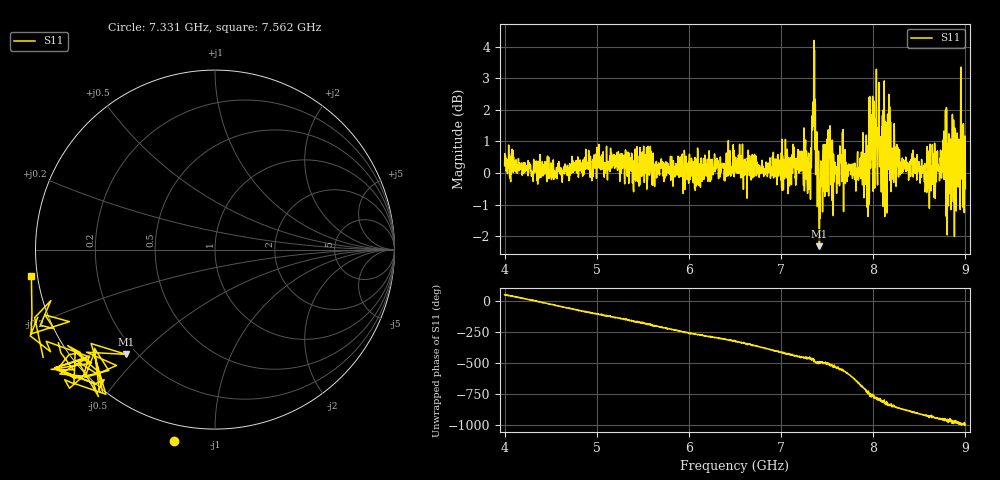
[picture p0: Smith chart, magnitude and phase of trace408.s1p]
! Created with skrf 1.8.0 (http://scikit-rf.org).
# Hz S RI R 50.0
!freq ReS11 ImS11
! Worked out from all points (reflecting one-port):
!   1601 points, 4 GHz to 9 GHz, reference 50 ohm
!   lowest |S11| = -2.3 dB at 7.416 GHz (marker M1), VSWR 7.53, Z = 8.03 - j22.7 ohm
!   phase of S11 starts at 50 deg and turns -1043 deg over the sweep
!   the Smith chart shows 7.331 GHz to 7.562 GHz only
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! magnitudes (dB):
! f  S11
! 4 GHz  0.2
! 4.625 GHz  -0.3
! 5.25 GHz  -0.3
! 5.875 GHz  0.1
! 6.5 GHz  0.3
! 7.125 GHz  0.0
! 7.306 GHz  -0.5
! 7.347 GHz  2.2
! 7.359 GHz  1.5
! 7.381 GHz  0.9
! 7.4 GHz  -0.5
! 7.416 GHz  -2.3
! 7.525 GHz  1.1
! 7.591 GHz  0.0
! 7.662 GHz  -0.1
! 7.75 GHz  0.1
! 7.925 GHz  1.2
! 7.988 GHz  1.1
! 8.05 GHz  1.4
! 8.066 GHz  0.8
! 8.128 GHz  -0.1
! 8.156 GHz  1.9
! 8.219 GHz  0.5
! 8.375 GHz  0.2
! 8.625 GHz  -0.6
! 8.828 GHz  1.1
! 8.972 GHz  0.9
! 9 GHz  -0.5
